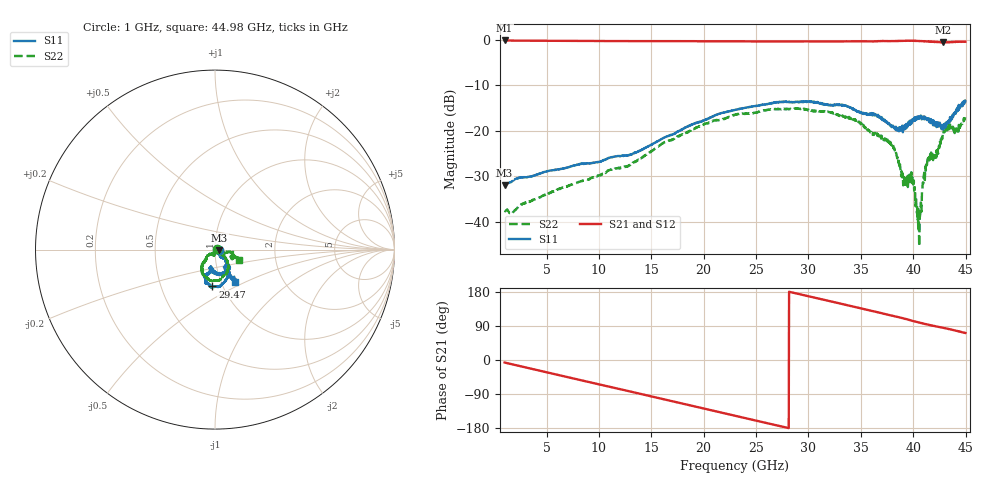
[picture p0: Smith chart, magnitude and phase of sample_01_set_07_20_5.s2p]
!Keysight Technologies,N5247B,MY61255062,A.19.80.06
!Date: Friday, March 13, 2026 17:08:50
!Correction: S11(C  2-Port  )
!S21(C  2-Port  )
!S12(C  2-Port  )
!S22(C  2-Port  )
!S2P File: Measurements: S11, S21, S12, S22:
# Hz S  dB  R 50
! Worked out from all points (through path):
!   1467 points, 1 GHz to 44.98 GHz, reference 50 ohm
!   highest |S21| = -0.14 dB at 1 GHz (marker M1); lowest = -0.6 dB at 42.85 GHz (marker M2)
!   group delay of S21, straight-line fit = 17.8 ps
!   lowest |S11| = -32.0 dB at 1 GHz (marker M3), VSWR 1.05, Z = 52.6 - j0.331 ohm
!   |S11| at or under -10 dB: start of sweep to end of sweep
!   |S22| runs from -45.4 to -15.1 dB; largest |S21 - S12| = 0.008
!   S11 on the Smith chart (normalised r, x): 1 GHz: 1.05, -0.01; 29.47 GHz: 0.89, -0.38; 44.98 GHz: 1.16, -0.43
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1e9  -31.98 -7.2  -0.14 -6.7  -0.14 -6.7  -37.55 5.9
4.6e9  -29.23 -37.4  -0.21 -29.7  -0.21 -29.7  -34.38 -30.1
8.35e9  -27.27 -53.1  -0.26 -53.7  -0.26 -53.7  -31.06 -42.9
1.216e10  -25.53 -53.6  -0.28 -77.8  -0.28 -77.8  -28.17 -42.5
1.567e10  -22.25 -44.5  -0.27 -100.4  -0.26 -100.4  -23.49 -35.8
1.891e10  -18.59 -49.1  -0.30 -121.2  -0.29 -121.2  -19.73 -46.0
2.299e10  -15.40 -65.7  -0.33 -147.1  -0.33 -147.1  -16.48 -64.7
2.602e10  -14.13 -78.0  -0.38 -166.5  -0.38 -166.4  -15.42 -79.9
2.947e10  -13.74 -94.1  -0.36 171.7  -0.35 171.7  -15.20 -98.4
3.034e10  -13.66 -96.0  -0.36 166.0  -0.34 166.1  -15.55 -103.8
3.442e10  -15.48 -108.3  -0.33 140.0  -0.32 140.1  -17.45 -122.3
3.766e10  -18.50 -101.3  -0.28 118.9  -0.27 119.0  -22.34 -130.3
3.82e10  -19.49 -101.1  -0.27 115.6  -0.26 115.6  -23.88 -138.3
3.922e10  -19.22 -106.1  -0.21 108.5  -0.21 108.5  -30.55 -110.4
3.991e10  -17.67 -93.2  -0.21 103.3  -0.21 103.5  -30.26 -101.7
4.042e10  -17.30 -78.5  -0.26 99.8  -0.24 99.9  -39.83 -113.7
4.057e10  -17.10 -78.3  -0.27 98.7  -0.28 98.7  -45.41 -86.4
4.105e10  -17.51 -65.3  -0.29 95.7  -0.32 95.7  -29.22 -23.5
4.135e10  -17.41 -60.4  -0.36 93.8  -0.36 93.9  -26.45 -29.4
4.216e10  -18.21 -49.7  -0.48 88.8  -0.45 88.9  -25.59 -25.9
4.285e10  -19.73 -52.7  -0.59 84.8  -0.55 84.9  -21.09 -9.1
4.498e10  -13.57 -58.4  -0.43 71.3  -0.38 71.4  -16.81 -24.1
